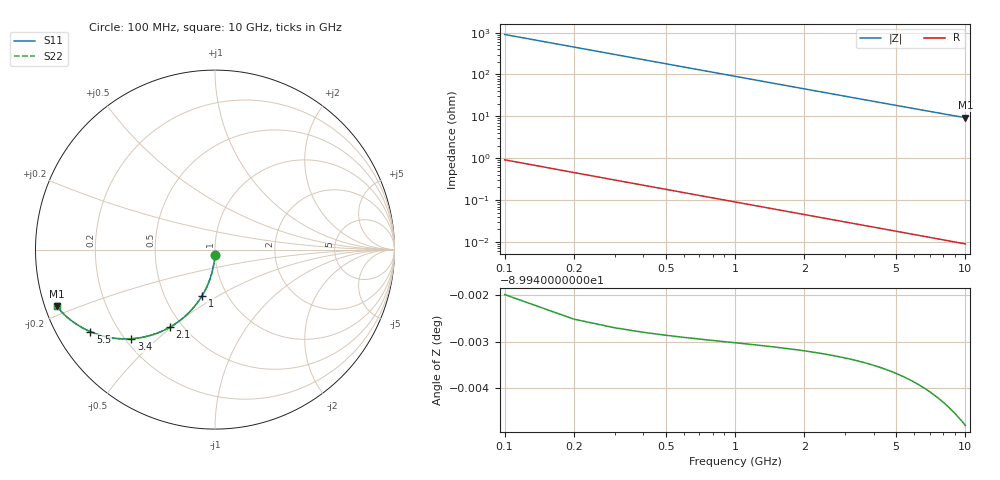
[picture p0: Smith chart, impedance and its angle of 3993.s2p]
# Hz S RI R 50.00
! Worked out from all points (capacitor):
!   100 points, 100 MHz to 10 GHz, reference 50 ohm
!   read as one part in shunt: C = 1.76 pF near 100 MHz
!   lowest |Z| = 9.27 ohm at 10 GHz (marker M1)
!   S11 on the Smith chart (normalised r, x): 100 MHz: 1.00, -0.06; 1 GHz: 0.77, -0.42; 2.1 GHz: 0.43, -0.49; 3.4 GHz: 0.22, -0.41; 5.5 GHz: 0.10, -0.30; 10 GHz: 0.03, -0.17
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1e8  -0.00078 -0.0276  0.9992 -0.0277  0.9992 -0.0277  -0.00078 -0.0276
2e8  -0.00309 -0.055  0.9969 -0.0552  0.9969 -0.0552  -0.00309 -0.055
3e8  -0.0069 -0.0822  0.9931 -0.0825  0.9931 -0.0825  -0.0069 -0.0822
4e8  -0.0122 -0.109  0.9878 -0.1094  0.9878 -0.1094  -0.0122 -0.109
5e8  -0.0188 -0.1353  0.9811 -0.1358  0.9811 -0.1358  -0.0188 -0.1353
6e8  -0.0269 -0.161  0.9731 -0.1616  0.9731 -0.1616  -0.0269 -0.161
7e8  -0.0362 -0.186  0.9638 -0.1867  0.9638 -0.1867  -0.0362 -0.186
8e8  -0.0467 -0.2102  0.9532 -0.211  0.9532 -0.211  -0.0467 -0.2102
1e9  -0.0711 -0.2559  0.9289 -0.257  0.9289 -0.257  -0.0711 -0.2559
1.2e9  -0.0991 -0.2977  0.9009 -0.2989  0.9009 -0.2989  -0.0991 -0.2977
1.4e9  -0.1301 -0.3352  0.8699 -0.3367  0.8699 -0.3367  -0.1301 -0.3352
1.8e9  -0.1979 -0.397  0.802 -0.3989  0.802 -0.3989  -0.1979 -0.397
2.1e9  -0.2512 -0.4321  0.7488 -0.4343  0.7488 -0.4343  -0.2512 -0.4321
2.7e9  -0.3561 -0.4769  0.6439 -0.4798  0.6439 -0.4798  -0.3561 -0.4769
3.4e9  -0.4665 -0.4966  0.5334 -0.5002  0.5334 -0.5002  -0.4665 -0.4966
4.2e9  -0.571 -0.4922  0.429 -0.4967  0.429 -0.4967  -0.571 -0.4922
5.1e9  -0.6618 -0.4699  0.3382 -0.4753  0.3382 -0.4753  -0.6618 -0.4699
5.5e9  -0.6945 -0.4572  0.3055 -0.463  0.3055 -0.463  -0.6945 -0.4572
6.7e9  -0.7709 -0.4162  0.2291 -0.4233  0.2291 -0.4233  -0.7709 -0.4162
7.5e9  -0.808 -0.3893  0.1919 -0.3973  0.1919 -0.3973  -0.808 -0.3893
8.4e9  -0.8406 -0.361  0.1593 -0.37  0.1593 -0.37  -0.8406 -0.361
1e10  -0.8819 -0.3168  0.1181 -0.3276  0.1181 -0.3276  -0.8819 -0.3168
